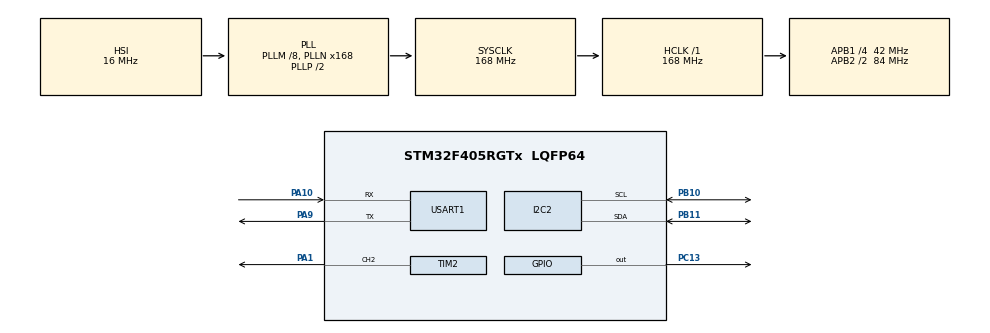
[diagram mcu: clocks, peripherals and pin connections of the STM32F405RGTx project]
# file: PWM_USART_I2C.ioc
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Dma.Request0=USART1_RX
Dma.Request1=USART1_TX
Dma.USART1_RX.0.Direction=DMA_PERIPH_TO_MEMORY
Dma.USART1_RX.0.FIFOMode=DMA_FIFOMODE_DISABLE
Dma.USART1_RX.0.Instance=DMA2_Stream2
Dma.USART1_RX.0.MemDataAlignment=DMA_MDATAALIGN_BYTE
Dma.USART1_RX.0.MemInc=DMA_MINC_ENABLE
Dma.USART1_RX.0.Mode=DMA_NORMAL
Dma.USART1_RX.0.PeriphDataAlignment=DMA_PDATAALIGN_BYTE
Dma.USART1_RX.0.PeriphInc=DMA_PINC_DISABLE
Dma.USART1_RX.0.Priority=DMA_PRIORITY_LOW
Dma.USART1_TX.1.Direction=DMA_MEMORY_TO_PERIPH
Dma.USART1_TX.1.FIFOMode=DMA_FIFOMODE_DISABLE
Dma.USART1_TX.1.Instance=DMA2_Stream7
Dma.USART1_TX.1.MemDataAlignment=DMA_MDATAALIGN_BYTE
Dma.USART1_TX.1.MemInc=DMA_MINC_ENABLE
Dma.USART1_TX.1.Mode=DMA_NORMAL
Dma.USART1_TX.1.PeriphDataAlignment=DMA_PDATAALIGN_BYTE
Dma.USART1_TX.1.PeriphInc=DMA_PINC_DISABLE
Dma.USART1_TX.1.Priority=DMA_PRIORITY_LOW
FREERTOS.Queues01=Usart_Rx,20,64,1,Dynamic,NULL,NULL;PWM_Step,1,uint8_t,0,Dynamic,NULL,NULL
FREERTOS.Tasks01=defaultTask,24,128,StartDefaultTask,Default,NULL,Dynamic,NULL,NULL;myTask02,24,256,tskLED,Default,NULL,Dynamic,NULL,NULL;myTask03,40,256,tskUsartRx,Default,NULL,Dynamic,NULL,NULL;myTask04,16,256,tskOLED,Default,NULL,Dynamic,NULL,NULL
I2C2.I2C_Mode=I2C_Fast
Mcu.Family=STM32F4
Mcu.Name=STM32F405RGTx
Mcu.Package=LQFP64
NVIC.DMA2_Stream2_IRQn=true\:5\:0\:false\:false\:true\:true\:false\:true\:true
NVIC.DMA2_Stream7_IRQn=true\:5\:0\:false\:false\:true\:true\:false\:true\:true
NVIC.PriorityGroup=NVIC_PRIORITYGROUP_4
NVIC.TIM7_IRQn=true\:15\:0\:false\:false\:true\:false\:false\:true\:true
NVIC.TimeBase=TIM7_IRQn
NVIC.TimeBaseIP=TIM7
NVIC.USART1_IRQn=true\:5\:0\:false\:false\:true\:true\:false\:true\:true
PA1.Signal=S_TIM2_CH2
PA10.GPIO_PuPd=GPIO_PULLUP
PA10.Mode=Asynchronous
PA10.Signal=USART1_RX
PA13.Mode=Serial_Wire
PA13.Signal=SYS_JTMS-SWDIO
PA14.Mode=Serial_Wire
PA14.Signal=SYS_JTCK-SWCLK
PA9.Mode=Asynchronous
PA9.Signal=USART1_TX
PB10.Mode=I2C
PB10.Signal=I2C2_SCL
PB11.Mode=I2C
PB11.Signal=I2C2_SDA
PC13-ANTI_TAMP.Signal=GPIO_Output
PH0-OSC_IN.Mode=HSE-External-Oscillator
PH0-OSC_IN.Signal=RCC_OSC_IN
PH1-OSC_OUT.Mode=HSE-External-Oscillator
PH1-OSC_OUT.Signal=RCC_OSC_OUT
ProjectManager.HeapSize=0x200
ProjectManager.StackSize=0x400
ProjectManager.TargetToolchain=MDK-ARM V5.32
RCC.48MHZClocksFreq_Value=84000000
RCC.AHBFreq_Value=168000000
RCC.APB1CLKDivider=RCC_HCLK_DIV4
RCC.APB1Freq_Value=42000000
RCC.APB1TimFreq_Value=84000000
RCC.APB2CLKDivider=RCC_HCLK_DIV2
RCC.APB2Freq_Value=84000000
RCC.APB2TimFreq_Value=168000000
RCC.CortexFreq_Value=168000000
RCC.HCLKFreq_Value=168000000
RCC.HSE_VALUE=25000000
RCC.HSI_VALUE=16000000
RCC.LSE_VALUE=32768
RCC.PLLM=8
RCC.PLLN=168
RCC.SYSCLKFreq_VALUE=168000000
RCC.SYSCLKSource=RCC_SYSCLKSOURCE_PLLCLK
RCC.VCOOutputFreq_Value=336000000
SH.S_TIM2_CH2.0=TIM2_CH2,PWM Generation2 CH2
TIM10.Period=999
TIM10.Prescaler=83
TIM2.AutoReloadPreload=TIM_AUTORELOAD_PRELOAD_ENABLE
TIM2.Channel-PWM\ Generation2\ CH2=TIM_CHANNEL_2
TIM2.Period=999
TIM2.Prescaler=83
TIM2.Pulse-PWM\ Generation2\ CH2=0
USART1.VirtualMode=VM_ASYNC
VP_FREERTOS_VS_CMSIS_V2.Mode=CMSIS_V2
VP_SYS_VS_tim7.Mode=TIM7
VP_TIM10_VS_ClockSourceINT.Mode=Enable_Timer
VP_TIM2_VS_ClockSourceINT.Mode=Internal
board=custom

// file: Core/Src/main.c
/* USER CODE BEGIN Header */
/**
  ******************************************************************************
  * @file           : main.c
  * @brief          : Main program body
  ******************************************************************************
  * @attention
  *
  * Copyright (c) 2026 STMicroelectronics.
  * All rights reserved.
  *
  * This software is licensed under terms that can be found in the LICENSE file
  * in the root directory of this software component.
  * If no LICENSE file comes with this software, it is provided AS-IS.
  *
  ******************************************************************************
  */
/* USER CODE END Header */
#include "main.h"
#include "cmsis_os.h"
#include "dma.h"
#include "i2c.h"
#include "tim.h"
#include "usart.h"
#include "gpio.h"

/* USER CODE BEGIN PV */
uint8_t rx_buffer[RX_BUFFER_SIZE];
uint16_t rx_data_len;
/* USER CODE END PV */

void SystemClock_Config(void);
void MX_FREERTOS_Init(void);

/* USER CODE BEGIN 0 */
void PWM_Light_Config(uint8_t duty_cycle, uint16_t period)
{
  uint16_t high, low;

  // 有弊端，osDelay的最小单位是1ms，如果周期过小，osDelay无法分辨
  if(duty_cycle > 100) duty_cycle = 100;
  else if(duty_cycle < 0) duty_cycle = 0;
  high = (uint16_t)((float)duty_cycle / 100.0f * period);
  low = period - high;

  if(high > 0)
  {
    HAL_GPIO_WritePin(GPIOC, GPIO_PIN_13, GPIO_PIN_RESET);
    osDelay(high);
  }
  if(low > 0)
  {
    HAL_GPIO_WritePin(GPIOC, GPIO_PIN_13, GPIO_PIN_SET);
    osDelay(low);
  }

}
/* USER CODE END 0 */

int main(void)
{

  /* MCU Configuration--------------------------------------------------------*/

  /* Reset of all peripherals, Initializes the Flash interface and the Systick. */
  HAL_Init();

  /* Configure the system clock */
  SystemClock_Config();

  /* Initialize all configured peripherals */
  MX_GPIO_Init();
  MX_DMA_Init();
  MX_TIM2_Init();
  MX_USART1_UART_Init();
  MX_TIM10_Init();
  MX_I2C2_Init();
  /* USER CODE BEGIN 2 */
  HAL_UARTEx_ReceiveToIdle_DMA(&huart1, rx_buffer, RX_BUFFER_SIZE);
  __HAL_DMA_DISABLE_IT(&hdma_usart1_rx, DMA_IT_HT);
  /* USER CODE END 2 */

  /* Init scheduler */
  osKernelInitialize();  /* Call init function for freertos objects (in cmsis_os2.c) */
  MX_FREERTOS_Init();

  /* Start scheduler */
  osKernelStart();

  /* We should never get here as control is now taken by the scheduler */

  /* Infinite loop */
  while (1)
  {

  }
}

void SystemClock_Config(void)
{
  RCC_OscInitTypeDef RCC_OscInitStruct = {0};
  RCC_ClkInitTypeDef RCC_ClkInitStruct = {0};

  /** Configure the main internal regulator output voltage
  */
  __HAL_RCC_PWR_CLK_ENABLE();
  __HAL_PWR_VOLTAGESCALING_CONFIG(PWR_REGULATOR_VOLTAGE_SCALE1);

  /** Initializes the RCC Oscillators according to the specified parameters
  * in the RCC_OscInitTypeDef structure.
  */
  RCC_OscInitStruct.OscillatorType = RCC_OSCILLATORTYPE_HSI;
  RCC_OscInitStruct.HSIState = RCC_HSI_ON;
  RCC_OscInitStruct.HSICalibrationValue = RCC_HSICALIBRATION_DEFAULT;
  RCC_OscInitStruct.PLL.PLLState = RCC_PLL_ON;
  RCC_OscInitStruct.PLL.PLLSource = RCC_PLLSOURCE_HSI;
  RCC_OscInitStruct.PLL.PLLM = 8;
  RCC_OscInitStruct.PLL.PLLN = 168;
  RCC_OscInitStruct.PLL.PLLP = RCC_PLLP_DIV2;
  RCC_OscInitStruct.PLL.PLLQ = 4;
  if (HAL_RCC_OscConfig(&RCC_OscInitStruct) != HAL_OK)
  {
    Error_Handler();
  }

  /** Initializes the CPU, AHB and APB buses clocks
  */
  RCC_ClkInitStruct.ClockType = RCC_CLOCKTYPE_HCLK|RCC_CLOCKTYPE_SYSCLK
                              |RCC_CLOCKTYPE_PCLK1|RCC_CLOCKTYPE_PCLK2;
  RCC_ClkInitStruct.SYSCLKSource = RCC_SYSCLKSOURCE_PLLCLK;
  RCC_ClkInitStruct.AHBCLKDivider = RCC_SYSCLK_DIV1;
  RCC_ClkInitStruct.APB1CLKDivider = RCC_HCLK_DIV4;
  RCC_ClkInitStruct.APB2CLKDivider = RCC_HCLK_DIV2;

  if (HAL_RCC_ClockConfig(&RCC_ClkInitStruct, FLASH_LATENCY_5) != HAL_OK)
  {
    Error_Handler();
  }
}

/* USER CODE BEGIN 4 */
void HAL_UARTEx_RxEventCallback(UART_HandleTypeDef *huart, uint16_t Size)
{
  BaseType_t xHigherPriorityTaskWoken = pdFALSE;

  if(huart->Instance == USART1)
  {
    rx_data_len = RX_BUFFER_SIZE - __HAL_DMA_GET_COUNTER(&hdma_usart1_rx);

    HAL_UARTEx_ReceiveToIdle_DMA(&huart1, rx_buffer, RX_BUFFER_SIZE);
    __HAL_DMA_DISABLE_IT(&hdma_usart1_rx, DMA_IT_HT);

    xQueueSendFromISR(Usart_RxHandle, rx_buffer, &xHigherPriorityTaskWoken);
    portYIELD_FROM_ISR(xHigherPriorityTaskWoken);

  }
}
/* USER CODE END 4 */

void HAL_TIM_PeriodElapsedCallback(TIM_HandleTypeDef *htim)
{
  if (htim->Instance == TIM7)
  {
    HAL_IncTick();
  }
}

void Error_Handler(void)
{
  __disable_irq();
  while (1)
  {
  }
}

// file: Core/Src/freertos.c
/* USER CODE BEGIN Header */
/**
  ******************************************************************************
  * File Name          : freertos.c
  * Description        : Code for freertos applications
  ******************************************************************************
  * @attention
  *
  * Copyright (c) 2026 STMicroelectronics.
  * All rights reserved.
  *
  * This software is licensed under terms that can be found in the LICENSE file
  * in the root directory of this software component.
  * If no LICENSE file comes with this software, it is provided AS-IS.
  *
  ******************************************************************************
  */
/* USER CODE END Header */

#include "FreeRTOS.h"
#include "task.h"
#include "main.h"
#include "cmsis_os.h"

/* Definitions for defaultTask */
osThreadId_t defaultTaskHandle;
const osThreadAttr_t defaultTask_attributes = {
  .name = "defaultTask",
  .stack_size = 128 * 4,
  .priority = (osPriority_t) osPriorityNormal,
};
/* Definitions for myTask02 */
osThreadId_t myTask02Handle;
const osThreadAttr_t myTask02_attributes = {
  .name = "myTask02",
  .stack_size = 256 * 4,
  .priority = (osPriority_t) osPriorityNormal,
};
/* Definitions for myTask03 */
osThreadId_t myTask03Handle;
const osThreadAttr_t myTask03_attributes = {
  .name = "myTask03",
  .stack_size = 256 * 4,
  .priority = (osPriority_t) osPriorityHigh,
};
/* Definitions for myTask04 */
osThreadId_t myTask04Handle;
const osThreadAttr_t myTask04_attributes = {
  .name = "myTask04",
  .stack_size = 256 * 4,
  .priority = (osPriority_t) osPriorityBelowNormal,
};
/* Definitions for Usart_Rx */
osMessageQueueId_t Usart_RxHandle;
const osMessageQueueAttr_t Usart_Rx_attributes = {
  .name = "Usart_Rx"
};
/* Definitions for PWM_Step */
osMessageQueueId_t PWM_StepHandle;
const osMessageQueueAttr_t PWM_Step_attributes = {
  .name = "PWM_Step"
};

void StartDefaultTask(void *argument);
void tskLED(void *argument);
void tskUsartRx(void *argument);
void tskOLED(void *argument);

void MX_FREERTOS_Init(void); /* (MISRA C 2004 rule 8.1) */

void MX_FREERTOS_Init(void) {

  /* Create the queue(s) */
  /* creation of Usart_Rx */
  Usart_RxHandle = osMessageQueueNew (20, 64, &Usart_Rx_attributes);

  /* creation of PWM_Step */
  PWM_StepHandle = osMessageQueueNew (1, sizeof(uint8_t), &PWM_Step_attributes);

  /* Create the thread(s) */
  /* creation of defaultTask */
  defaultTaskHandle = osThreadNew(StartDefaultTask, NULL, &defaultTask_attributes);

  /* creation of myTask02 */
  myTask02Handle = osThreadNew(tskLED, NULL, &myTask02_attributes);

  /* creation of myTask03 */
  myTask03Handle = osThreadNew(tskUsartRx, NULL, &myTask03_attributes);

  /* creation of myTask04 */
  myTask04Handle = osThreadNew(tskOLED, NULL, &myTask04_attributes);

}

void StartDefaultTask(void *argument)
{
  for(;;)
  {
    osDelay(1);
  }
}

void tskLED(void *argument)
{
  /* USER CODE BEGIN tskLED */
  int16_t PWM_Compare = 0;
  uint16_t period = 10;
  int8_t dir = 1;
  uint8_t step = 1;
  uint32_t previouswaken = osKernelGetTickCount();
  /* Infinite loop */
  for(;;)
  {
    uint8_t new_step;

    if(xQueueReceive(PWM_StepHandle, &new_step, 0) == pdTRUE)
    {
      step = new_step;
    }

    PWM_Light_Config(PWM_Compare, period);
    PWM_Compare += dir * step;
    if(PWM_Compare >= 100) dir = -1;
    else if(PWM_Compare <= 0) dir = 1;
    vTaskDelayUntil(&previouswaken, pdMS_TO_TICKS(10));
  }
  /* USER CODE END tskLED */
}

void tskUsartRx(void *argument)
{
  /* USER CODE BEGIN tskUsartRx */
  uint8_t msg[64];
  uint8_t step;
  /* Infinite loop */
  for(;;)
  {
    if(xQueueReceive(Usart_RxHandle, msg, portMAX_DELAY) == pdTRUE)
    {

      msg[rx_data_len] = '\0';

      char *p = strstr((char*)msg, "step=");
      if(p != NULL)
      {
        p += 5;
        int val = atoi(p);
        if(val >= 1 && val <= 10)
        {
          step = (uint8_t)val;
          xQueueSend(PWM_StepHandle, &step, 0);
          char ok[] = "OK\n";
          HAL_UART_Transmit_DMA(&huart1, (uint8_t*)ok, strlen(ok));
        }
        else
        {
          char err[] = "ERR: step must be 1-10\n";
          HAL_UART_Transmit_DMA(&huart1, (uint8_t*)err, strlen(err));
        }
      }
      else
      {
        char err[] = "ERR: use 'step=<1-10>'\n";
        HAL_UART_Transmit_DMA(&huart1, (uint8_t*)err, strlen(err));
      }
    }
  }
  /* USER CODE END tskUsartRx */
}

void tskOLED(void *argument)
{
  /* USER CODE BEGIN tskOLED */
  int16_t x = 0;
  int8_t dir = 2;           // 每次移动2像素
  uint8_t screen_width = 128;
  uint8_t char_width = 16;  // 16x16汉字宽度
  uint8_t num_chars = 3;    // 显示3个汉字
  uint8_t total_width = char_width * num_chars;

  // 初始化OLED
  OLED_Init();
  OLED_NewFrame();
  OLED_ShowFrame();

  uint32_t previouswaken = osKernelGetTickCount();
  /* Infinite loop */
  for(;;)
  {
    OLED_NewFrame();  // 清屏

    OLED_PrintString(x, 24, "彭宇熙", &font16x16, OLED_COLOR_NORMAL);

    // 刷新屏幕
    OLED_ShowFrame();

    // 移动坐标
    x += dir;
    if(x >= (screen_width - total_width)) dir = -2;
    else if(x <= 0) dir = 2;
    vTaskDelayUntil(&previouswaken, pdMS_TO_TICKS(10));
  }
  /* USER CODE END tskOLED */
}
